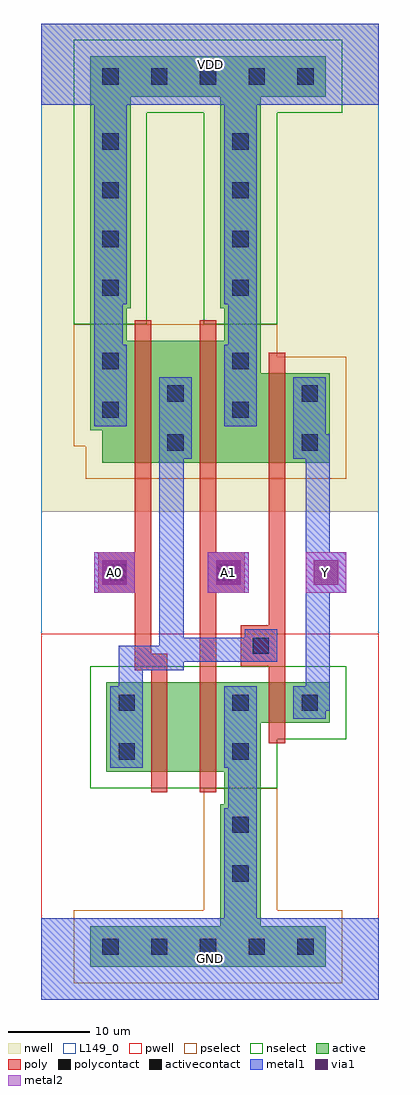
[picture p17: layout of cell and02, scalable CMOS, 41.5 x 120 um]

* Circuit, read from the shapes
.subckt and02 A0 A1 GND VDD Y
M1 n1 A0 n2 GND nfet w=11u l=2u
M2 GND A1 n1 GND nfet w=11u l=2u
M3 Y n2 GND GND nfet w=5u l=2u
M4 n2 A0 VDD VDD pfet w=15u l=2u
M5 VDD A1 n2 VDD pfet w=15u l=2u
M6 Y n2 VDD VDD pfet w=11u l=2u
.ends

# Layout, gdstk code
from math import pi, radians
import gdstk
lib = gdstk.Library(unit=1e-6, precision=1e-09)
def R(c, l, rs):  # rectangles x0, y0, x1, y1
    for r in rs: c.add(gdstk.rectangle(r[:2], r[2:], *l))
def A(c, l, x, y, w, h, nx, ny, dx, dy):  # array of equal rectangles
    R(c, l, [(x+i*dx, y+j*dy, x+i*dx+w, y+j*dy+h) for i in range(nx) for j in range(ny)])
def P(c, l, *ps):  # polygons
    for p in ps: c.add(gdstk.Polygon(p, *l))
pwell = (41, 0)
nwell = (42, 0)
active = (43, 0)
pselect = (44, 0)
nselect = (45, 0)
poly = (46, 0)
polycontact = (47, 0)
activecontact = (48, 0)
metal1 = (49, 0)
via1 = (50, 0)
metal2 = (51, 0)
L149_0 = (149, 0)

via = lib.new_cell('via')
R(via, metal1, [(-2.5,-2.5,2.5,2.5)])
R(via, via1, [(-1.5,-1.5,1.5,1.5)])
R(via, metal2, [(-2.5,-2.5,2.5,2.5)])

and02 = lib.new_cell('and02')
R(and02, pwell, [(0,0,41.5,45)])
P(and02, pwell, [(2,22),(2,45),(41.5,45),(41.5,28),(33,28),(33,22)])
R(and02, nwell, [(0,60,41.5,120)])
P(and02, nwell, [(41.5,60),(41.5,83),(33,83),(33,87),(0,87),(0,64),(1.5,64),(1.5,60)])
R(and02, active, [(6,4,35,9), (22,9,27,24), (22.5,24,27,28), (8,28,13.5,39), (30,34,35.5,39), (30,66,35.5,77), (6,81,10.5,85), (22.5,81,27,85), (6,85,11,111), (22,85,27,111), (6,111,35,116)])
P(and02, active, [(11.5,66),(11.5,81),(6,81),(6,70),(7.5,70),(7.5,66)],
  [(35.5,66),(35.5,77),(27,77),(27,81),(6,81),(6,70),(7.5,70),(7.5,66)],
  [(8,28),(8,39),(35.5,39),(35.5,34),(27,34),(27,28)])
R(and02, pselect, [(4,2,37,11), (20,11,29,26)])
P(and02, pselect, [(37.5,64),(37.5,79),(29,79),(29,83),(4,83),(4,68),(5.5,68),(5.5,64)])
R(and02, nselect, [(4,83,13,109), (20,83,29,109), (4,109,37,118)])
P(and02, nselect, [(6,26),(6,41),(37.5,41),(37.5,32),(29,32),(29,26)])
R(and02, poly, [(13.5,25.5,15.5,28), (19.5,25.5,21.5,28), (13.5,28,15.5,39), (19.5,28,21.5,39), (28,31.5,30,34), (28,34,30,39), (13.5,39,15.5,41.5), (19.5,39,21.5,41.5), (28,39,30,41.5), (24.5,41,29.5,46), (7,50,12,55), (20,50,25,55), (11.5,63.5,13.5,66), (19.5,63.5,21.5,66), (28,63.5,30,66), (11.5,66,13.5,81), (19.5,66,21.5,81), (28,66,30,77), (28,77,30,79.5), (11.5,81,13.5,83.5), (19.5,81,21.5,83.5)])
R(and02, polycontact, [(26,42.5,28,44.5), (8.5,51.5,10.5,53.5), (21.5,51.5,23.5,53.5)])
A(and02, activecontact, 7.5, 5.5, 2, 2, 5, 2, 6, 107)
A(and02, activecontact, 7.5, 86.5, 2, 2, 1, 4, 0, 6)
A(and02, activecontact, 23.5, 86.5, 2, 2, 1, 4, 0, 6)
R(and02, activecontact, [(23.5,14.5,25.5,16.5), (23.5,20.5,25.5,22.5), (9.5,29.5,11.5,31.5), (23.5,29.5,25.5,31.5), (9.5,35.5,11.5,37.5), (23.5,35.5,25.5,37.5), (32,35.5,34,37.5), (15.5,67.5,17.5,69.5), (32,67.5,34,69.5), (7.5,71.5,9.5,73.5), (23.5,71.5,25.5,73.5), (15.5,73.5,17.5,75.5), (32,73.5,34,75.5), (7.5,77.5,9.5,79.5), (23.5,77.5,25.5,79.5)])
R(and02, metal1, [(0,0,41.5,10), (0,0,41.5,10), (22.5,10,26.5,23.5), (23,23.5,26.5,28.5), (8.5,28.5,12.5,38.5), (22.5,28.5,26.5,38.5), (31,34.5,35,38.5), (25,41.5,29,45.5), (7.5,50.5,11.5,54.5), (20.5,50.5,24.5,54.5), (14.5,66.5,18.5,76.5), (31,66.5,35,76.5), (6.5,70.5,10.5,80.5), (22.5,70.5,26.5,80.5), (6.5,80.5,10,85.5), (23,80.5,26.5,85.5), (6.5,85.5,10.5,110), (22.5,85.5,26.5,110), (0,110,41.5,120), (0,110,41.5,120)])
R(and02, metal2, [(6.5,50,11.5,55), (20.5,50,25.5,55), (32.5,50,37.5,55)])
R(and02, L149_0, [(0,0,41.5,120)])
and02.add(gdstk.FlexPath([(17.5,43),(25,43)], 3, ends="flush", simple_path=True, layer=49, datatype=0))  # metal1
and02.add(gdstk.FlexPath([(34,35.5),(34,69.5)], 3, ends="flush", simple_path=True, layer=49, datatype=0))  # metal1
and02.add(gdstk.FlexPath([(11,38.5),(11,42),(16,42),(16,66.5)], 3, ends="flush", simple_path=True, layer=49, datatype=0))  # metal1
and02.add(gdstk.FlexPath([(20.5,63.5),(20.5,41.5)], 2, ends="flush", simple_path=True, layer=46, datatype=0))  # poly
and02.add(gdstk.FlexPath([(12.5,63.5),(12.5,41.5),(15.5,41.5)], 2, ends="flush", simple_path=True, layer=46, datatype=0))  # poly
and02.add(gdstk.FlexPath([(29,63.5),(29,41.5)], 2, ends="flush", simple_path=True, layer=46, datatype=0))  # poly
and02.add(gdstk.Reference(via, (23,52.5), rotation=pi, x_reflection=True))
and02.add(gdstk.Reference(via, (35,52.5), rotation=pi, x_reflection=True))
and02.add(gdstk.Reference(via, (9,52.5), rotation=pi, x_reflection=True))
and02.add(gdstk.Label('Y', (35,52.5), layer=3, texttype=0))
and02.add(gdstk.Label('A1', (23,52.5), layer=3, texttype=0))
and02.add(gdstk.Label('A0', (9,52.5), layer=3, texttype=0))
and02.add(gdstk.Label('GND', (20.75,5), layer=2, texttype=0))
and02.add(gdstk.Label('VDD', (20.75,115), layer=2, texttype=0))
and02.add(gdstk.Label('GND', (20.75,5), layer=2, texttype=0))
and02.add(gdstk.Label('VDD', (20.75,115), layer=2, texttype=0))
and02.add(gdstk.Label('Y', (35,52.5), layer=3, texttype=0))
and02.add(gdstk.Label('A1', (23,52.5), layer=3, texttype=0))
and02.add(gdstk.Label('A0', (9,52.5), layer=3, texttype=0))

lib.write_gds('and02.gds')
